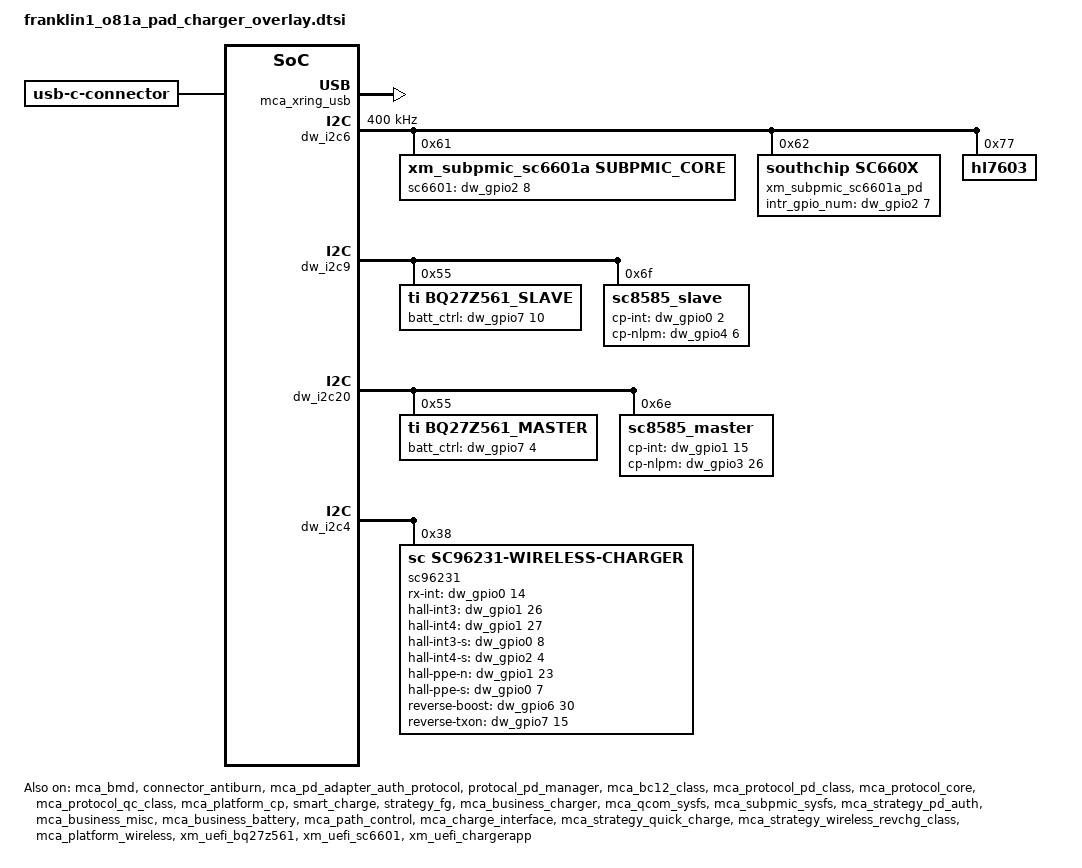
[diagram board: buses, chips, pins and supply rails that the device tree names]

&mca_bmd {
	status = "okay";
	btb_bmd_scheme = <3 3>;
	fg_type = <2>;
	//pinctrl-names = "default";
	//pinctrl-0 = <&slave_batt_det_default>;
	//btb_gpio = <&pmih010x_gpios 2 GPIO_ACTIVE_LOW>;
};

&connector_antiburn {
	status = "okay";
	//names = "default";
	//pinctrl-0 = <&anti_burn_mos_ctrl_default>;
	//mos-ctrl-gpio = <&pm8550_gpios 9 0>;
	//antiburn_otg_detect = <1>;
	//support_soft_antiburn = <1>;
	support_hw_antiburn = <1>;
	//use_double_ntc = <1>;
	monitor_interval = <1000>;
	//thermal-zone-name = "conn_therm";
	thermal-zone-name2 = "conn_therm";
	max_temp_increase_rate = <4>; /*ntc temperature increase speed per second.*/
	otg_boost_src = <2>;   //BOOST_SRC_EXTERNAL
	en_src = <0>;      //OTG_EN_BOOST
	//thermal-board-temp-name = "board_sensor_therm";
};

&mca_pd_adapter_auth_protocol {
		status = "okay";
};

&protocal_pd_manager {
	status = "okay";
	connector {
		compatible = "usb-c-connector";
		power-role = "dual";
		data-role = "dual";
		self-powered;
	};
};

&{/}{
	mca_xring_usb: mca_xring_usb {
		status = "okay";
		compatible = "mca,mca_xring_usb";
		xr-usb = <&usb>;
	};
};

&mca_bc12_class {
	status = "okay";
};

&mca_protocol_pd_class {
	status = "okay";
	max_power = <120>;
};

&mca_protocol_core {
	status = "okay";
};

&mca_protocol_qc_class {
	status = "okay";
};

&mca_platform_cp {
	status = "okay";
	cp-num = <2>;
	cp-dir-list = "cp_master","cp_slave";
};

&smart_charge {
	status = "okay";
	cell_type = <1>;
	support_cc_ichg;
	cc_ichg_cfg = </* cyclecount delta_ichg*/
	800 100
	65536 200>;
	enable_fv_dec_by_cc = <1>;
};

&strategy_fg {
	status = "okay";

	fg_type = <2>;
	report-full-rsoc = <9500>;
	soc-proportion = <95>;
	soc-proportion-c = <94>;
	vcutoff_shutdown_delay = <3250>;
	vcutoff_sw = <3150>;
	fg_hightemp_vterm = <4200>;
	//support-full-curr-monitor;
	support-vpack-low-shutdown;
	support-pnc;

	/*get factory aging test cyclecount and volt*/
	/*batt_cyclecount  vout_threshold*/
	full-volt-monitor = <
		301 9020
		101 9060
		0 9100
	>;
	adapt_power = <120>;
	model-name = "O81A_10610mah_120w";
	support_dtpt = <1>;
	support-base-flip;
	support-lossless-rechg = <0>;
	charge-full-design = <10610>;
	lossless_rechg_cfg = <15 47 300>;
	support_normal_force_full;
	sdp_decrease_iterm = <62 62>;
	iterm_para =
		"0", "iterm_base",
		"1", "iterm_flip";
	/* temp, temp_hys, normal_iterm, ffc_iterm*/
	iterm_base =
		"13", "2", "262", "262",
		"18", "0", "262", "1515",
		"35", "0", "262", "2508",
		"48", "0", "262", "262";

	iterm_flip =
		"13", "2", "262", "262",
		"18", "0", "262", "1515",
		"35", "0", "262", "2508",
		"48", "0", "262", "262";
};

&mca_business_charger {
	status = "okay";
};

&mca_qcom_sysfs {
	status = "okay";
};

&mca_subpmic_sysfs {
	status = "okay";
};

&mca_strategy_pd_auth {
	status = "okay";
};

&mca_business_misc {
	status = "okay";
};

&soc_limit {
	status = "okay";
};

&mca_business_battery {
	status = "okay";
};
&mca_strategy_buckchg_class {
	status = "okay";
	ship_mode_chip = <0>;	/* 0:MAIN_BUCK_CHARGER, 1:AUX_BUCK_CHARGER  */
	ffc_temp_low = <18>;
	ffc_temp_high = <48>;
	pmic_fv_compensation = <25>;
	mca_wire_use_sc_buck = <1>;	/* 0:WIRE UNUSE SC SUBPMIC BUCK, 1:WIRE USE SC SUBPMIC BUCK*/
	vbat_fg_to_pmic_ratio = <1>;
	support-base-flip;
};

&mca_path_control {
	status = "okay";
};

&mca_charge_interface
{
	status = "okay";
};

&mca_strategy_quick_charge {
	status = "okay";

	batt_type = <2>;	/* single fg, two cells in series */
	cp_type = <1>;
	min_vbat = <3000>;
	max_vbat = <4490>;
	recharge_vbat_delta = <250>;
	die_temp_max = <125>;
	adp_temp_max = <125>;
	div_delta_volt = <600 600 800>;
	div_single_curr = <8000 11000 14000>;
	div_max_curr = <8000 8000 21600>;
	multi_ibus_th = <2000 1500 600>;
	ibus_inc_hysteresis = <200 200 100>;
	ibus_dec_hysteresis = <200 200 100>;
	open_path_th = <800 600 400>;
	support_mode = <6>;
	max_power = <120000>;
	qc_normal_charge_fv = <4510>;
	qc3_max_vbus_limit = <9500>;
	qc3_max_ibus_limit = <2500>;
	qc3_ibat_max_limit = <5000>;
	qc3p5_max_vbus_limit = <10000>;
	qc3p5_max_ibus_limit = <2200>;
	qc3p5_ibat_max_limit = <4400>;
	qc_taper_fcc_thr = <2400>;
	qc3_taper_vol_hys = <25>;
	qc3p5_taper_vol_hys = <20>;
	pps_taper_vol_hys = <0>;
	fv_hys_delta_mv = <4>;
	curr_terminate_ratio = <115>;
	pps_taper_fcc_thr = <2100>;
	hardware_cv = <0>;
	rawsoc_swith_pmic_th = <9000>;
	support_cp_vfc = <1>;
	support_curr_monitor = <0>;
	support-base-flip;

	vstep_para =
		"1", "2000", "2",
		"2", "2000", "4",
		"4", "12000", "20",
		"4", "8000", "10",
		"4", "4000", "5",
		"4", "1500", "2",
		"4", "1000", "1";

	batt_para =
		"0", "atl", "batt_para_atl";
		base_flip_para =
		"0", "atl", "base_batt_para_atl",
		"1", "atl", "flip_batt_para_atl";

	/* -------------------- batt_para_atl start -------------------- */
	/* temp_low, temp_high, low_temp_hys, high_temp_hys, max_current, normal_fv, ffc_fv,volt_para_name stage_para_name*/
	batt_para_atl =
		"-65535", "8", "0", "0", "0", "4500", "4500", "null", "null", "null", "null",
		"8", "13", "0", "1", "5226", "4500", "4500", "normal_para_atl_8_13", "null", "null", "null",
		"13", "18", "0", "1", "8360", "4500", "4500", "normal_para_atl_13_18", "null", "null", "null",
		"18", "35", "2", "2", "21600", "4480", "4550", "normal_para_atl_18_35", "ffc_para_atl_18_35", "null", "ffc_stage_atl_18_35",
		"35", "48", "2", "2", "21600", "4480", "4550", "normal_para_atl_35_48", "ffc_para_atl_35_48", "null", "ffc_stage_atl_35_48",
		"48", "65535", "0", "0", "0", "4100", "4100", "null", "null", "null", "null";

	normal_para_atl_8_13 =
		"4495", "5226", "524";

	normal_para_atl_13_18 =
		"4495", "8360", "524";

	normal_para_atl_18_35 =
		"4475", "10450", "524";

	ffc_para_atl_18_35 =
		"4200", "21600", "15676",
		"4300", "15676", "13586",
		"4480", "13586", "10450",
		"4545", "10450", "3030";
	ffc_stage_atl_18_35 = <0 0 0 0 0 0 0 0>;

	normal_para_atl_35_48 =
		"4475", "10450", "524";

	ffc_para_atl_35_48 =
		"4200", "21600", "15676",
		"4300", "15676", "13586",
		"4480", "13586", "10450",
		"4545", "10450", "5016";
	ffc_stage_atl_35_48 = <0 0 0 0 0 0 0 0>;

	/* -------------------- batt_para_atl end -------------------- */

	/* -------------------- base_batt_para_atl start -------------------- */
	/* temp_low, temp_high, low_temp_hys, high_temp_hys, max_current, normal_fv, ffc_fv,volt_para_name stage_para_name*/
	base_batt_para_atl =
		"-65535", "8", "0", "0", "0", "4500", "4500", "null", "null", "null", "null",
		"8", "13", "0", "1", "2613", "4500", "4500", "base_normal_para_atl_8_13", "null", "null", "null",
		"13", "18", "0", "1", "4180", "4500", "4500", "base_normal_para_atl_13_18", "null", "null", "null",
		"18", "35", "2", "2", "10800", "4480", "4550", "base_normal_para_atl_18_35", "base_ffc_para_atl_18_35", "null", "base_ffc_stage_atl_18_35",
		"35", "48", "2", "2", "10800", "4480", "4550", "base_normal_para_atl_35_48", "base_ffc_para_atl_35_48", "null", "base_ffc_stage_atl_35_48",
		"48", "65535", "0", "0", "0", "4100", "4100", "null", "null", "null", "null";

	base_normal_para_atl_8_13 =
		"4495", "2613", "262";

	base_normal_para_atl_13_18 =
		"4495", "4180", "262";

	base_normal_para_atl_18_35 =
		"4475", "5225", "262";

	base_ffc_para_atl_18_35 =
		"4200", "10800", "7838",
		"4300", "7838", "6793",
		"4480", "6793", "5225",
		"4545", "5225", "1515";
	base_ffc_stage_atl_18_35 = <0 0 0 0 0 0 0 0>;

	base_normal_para_atl_35_48 =
		"4475", "5225", "262";

	base_ffc_para_atl_35_48 =
		"4200", "10800", "7838",
		"4300", "7838", "6793",
		"4480", "6793", "5225",
		"4545", "5225", "2508";
	base_ffc_stage_atl_35_48 = <0 0 0 0 0 0 0 0>;

	/* -------------------- base_batt_para_atl end -------------------- */

	/* -------------------- flip_batt_para_atl start -------------------- */
	/* temp_low, temp_high, low_temp_hys, high_temp_hys, max_current, normal_fv, ffc_fv,volt_para_name stage_para_name*/
	flip_batt_para_atl =
		"-65535", "8", "0", "0", "0", "4500", "4500", "null", "null", "null", "null",
		"8", "13", "0", "1", "2613", "4500", "4500", "flip_normal_para_atl_8_13", "null", "null", "null",
		"13", "18", "0", "1", "4180", "4500", "4500", "flip_normal_para_atl_13_18", "null", "null", "null",
		"18", "35", "2", "2", "10800", "4480", "4550", "flip_normal_para_atl_18_35", "flip_ffc_para_atl_18_35", "null", "flip_ffc_stage_atl_18_35",
		"35", "48", "2", "2", "10800", "4480", "4550", "flip_normal_para_atl_35_48", "flip_ffc_para_atl_35_48", "null", "flip_ffc_stage_atl_35_48",
		"48", "65535", "0", "0", "0", "4100", "4100", "null", "null", "null", "null";

	flip_normal_para_atl_8_13 =
		"4495", "2613", "262";

	flip_normal_para_atl_13_18 =
		"4495", "4180", "262";

	flip_normal_para_atl_18_35 =
		"4475", "5225", "262";

	flip_ffc_para_atl_18_35 =
		"4200", "10800", "7838",
		"4300", "7838", "6793",
		"4480", "6793", "5225",
		"4545", "5225", "1515";
	flip_ffc_stage_atl_18_35 = <0 0 0 0 0 0 0 0>;

	flip_normal_para_atl_35_48 =
		"4475", "5225", "262";

	flip_ffc_para_atl_35_48 =
		"4200", "10800", "7838",
		"4300", "7838", "6793",
		"4480", "6793", "5225",
		"4545", "5225", "2508";
	flip_ffc_stage_atl_35_48 = <0 0 0 0 0 0 0 0>;

	/* -------------------- flip_batt_para_atl end -------------------- */
};

&mca_charger_thermal
{
	status = "okay";

	/* 5v_in 9v_in 5v_ichg 9v_ichg div1_single div1_multi div2_single div2_multi div4_single div4_multi*/
	wired_thermal = <
	1800 1500 1800 3000 16000  16000  16000  16000  16000  16000 /* level 1 */
	1800 1500 1800 3000 12000  12000  12000  12000  12000  12000 /* level 2 */
	1800 1500 1800 3000 9000  9000  9000  9000  9000  9000  /* level 3 */
	1800 1500 1800 3000 8000  8000  8000  8000  8000  8000  /* level 4 */
	1800 1500 1800 3000 7000  7000  7000  7000  7000  7000  /* level 5 */
	1800 1400 1800 2800 6000  6000  6000  6000  6000  6000  /* level 6 */
	1800 1300 1800 2600 5000  5000  5000  5000  5000  5000  /* level 7 */
	1800 1150 1800 2310 4000  4000  4000  4000  4000  4000  /* level 8 */
	1700 1100 1700 2200 3500  3500  3500  3500  3500  3500  /* level 9 */
	1600 1000 1600 2000 3000  3000  3000  3000  3000  3000  /* level 10 */
	1400 900  1400 1800 2400  2400  2400  2400  2400  2400  /* level 11 */
	1200 850  1200 1600 2000  2000  2000  2000  2000  2000  /* level 12 */
	1100 750  1100 1500 1500  1500  1500  1500  1500  1500   /* level 13 */
	1100 650  1100 1300 1000  1000  1000  1000  1000  1000   /* level 14 */
	1000 500  1000 1000 500   500   500   500   500   500   /* level 15 */
	>;
};

&mca_buckchg_jeita
{
	status = "okay";
	sdp_decrease_vi_term = <10 124>;
	high_tbat_stop_chg_fv = <4100>;
	support-base-flip;
	/* temp_low, temp_high, low_temp_hys, high_temp_hys, max_current, vterm, iterm, volt_para_name */
	jeita_para =
		"-65535", "-9", "0", "2", "0", "4500", "524", "null",
		"-9", "3", "1", "2", "1046", "4500", "524", "para_n10_3",
		"3", "8", "1", "2", "2090", "4500", "524", "para_3_8",
		"8", "13", "1", "2", "5226", "4500", "524", "para_8_13",
		"13", "18", "1", "2", "8360", "4500", "524", "null",
		"18", "35", "2", "2", "10450", "4480", "524", "null",
		"35", "48", "2", "0", "10450", "4480", "524", "null",
		"48", "55", "2", "2", "5226", "4060", "524", "null",
		"55", "65535", "2", "2", "0", "4060", "524", "null";

	para_n10_3 =
		"4500", "1046";

	para_3_8 =
		"4500", "2090";

	para_8_13 =
		"4500", "5226";

	jeita_para_ffc =
		"18", "35", "2", "2", "21600", "4550", "3030", "null",
		"35", "48", "2", "0", "21600", "4550", "5016", "null",
		"48", "55", "2", "2", "5226", "4060", "524", "null",
		"55", "65535", "2", "2", "0", "4060", "524", "null";

	base_jeita_para =
		"-65535", "-9", "0", "2", "0", "4500", "262", "null",
		"-9", "3", "1", "2", "523", "4500", "262", "base_para_n10_3",
		"3", "8", "1", "2", "1045", "4500", "262", "base_para_3_8",
		"8", "13", "1", "2", "2613", "4500", "262", "base_para_8_13",
		"13", "18", "1", "2", "4180", "4500", "262", "null",
		"18", "35", "2", "2", "5225", "4480", "262", "null",
		"35", "48", "2", "0", "5225", "4480", "262", "null",
		"48", "55", "2", "2", "2613", "4060", "262", "null",
		"55", "65535", "2", "2", "0", "4060", "262", "null";

	base_para_n10_3 =
		"4500", "523";

	base_para_3_8 =
		"4500", "1045";

	base_para_8_13 =
		"4500", "2613";

	base_jeita_para_ffc =
		"18", "35", "2", "2", "10800", "4550", "1515", "null",
		"35", "48", "2", "0", "10800", "4550", "2508", "null",
		"48", "55", "2", "2", "2613", "4060", "262", "null",
		"55", "65535", "2", "2", "0", "4060", "262", "null";

	flip_jeita_para =
		"-65535", "-9", "0", "2", "0", "4500", "262", "null",
		"-9", "3", "1", "2", "523", "4500", "262", "flip_para_n10_3",
		"3", "8", "1", "2", "1045", "4500", "262", "flip_para_3_8",
		"8", "13", "1", "2", "2613", "4500", "262", "flip_para_8_13",
		"13", "18", "1", "2", "4180", "4500", "262", "null",
		"18", "35", "2", "2", "5225", "4480", "262", "null",
		"35", "48", "2", "0", "5225", "4480", "262", "null",
		"48", "55", "2", "2", "2613", "4060", "262", "null",
		"55", "65535", "2", "2", "0", "4060", "262", "null";

	flip_para_n10_3 =
		"4500", "523";

	flip_para_3_8 =
		"4500", "1045";

	flip_para_8_13 =
		"4500", "2613";

	flip_jeita_para_ffc =
		"18", "35", "2", "2", "10800", "4550", "1515", "null",
		"35", "48", "2", "0", "10800", "4550", "2508", "null",
		"48", "55", "2", "2", "2613", "4060", "262", "null",
		"55", "65535", "2", "2", "0", "4060", "262", "null";
};

&dw_i2c6 {
	status = "okay";
	#address-cells = <1>;
	#size-cells = <0>;
	clock-frequency = <400000>;
	xm_subpmic_sc6601a {
		#io-channel-cells = <1>;
		compatible = "xm_subpmic_sc6601a,subpmic_core";
		reg = <0x61>;
		//interrupt-parent = <&dw_gpio2>;
		sc6601-gpio = <&dw_gpio2 8 0>;

		//interrupts = <GIC_SPI 72 IRQ_TYPE_LEVEL_LOW>;
		interrupt-controller;
		#interrupt-cells = <1>;
		pinctrl-names = "default";
		pinctrl-0 = <&gpio_072_default>; //72

		xm_subpmic_sc6601a_drv {
			#io-channel-cells = <1>;
			compatible = "xm_subpmic_sc6601a,subpmic_drv";
			vbusp-gpio = <&dw_gpio6 29 0>; //gpio 212
			otg_boost_src = <1>;	// 0 : charger boost	1 : gpio
			otg_boost_en = <&dw_gpio6 27 0>;
			otg_en = <&dw_gpio7 14 0>;
			pinctrl-names = "default";
			pinctrl-0 = <&otg_boost_en_default>,
						<&otg_en_default>;
			interrupts = <6>,
						 <0>,
						 <3>;
			interrupt-names = "Hourse Keeping",
							  "Buck Charger",
							  "DPDM";
							  //"LED";
			//dpdm-supply = <&usb2_phy0>;
			sc,vsys-limit = <3500>;
			sc,batsnc-enable = <1>;
			sc,vbat = <4528>;
			sc,charge-curr = <4000>;
			sc,iindpm-disable = <0>;
			sc,input-curr-limit = <3000>;
			sc,ico-enable = <0>;
			sc,iindpm-ico = <100>;
			sc,vindpm = <4500>;
			sc,precharge-volt = <1>;	/* 0:2900mv, 1:3000, 2:3100, 3:3200 */
			sc,precharge-curr = <250>;
			sc,term-en = <1>;
			sc,term-curr = <1100>;	/* ma */
			sc,rechg-dis = <1>;
			sc,rechg-dg = <0>;		/* 0:64ms , 1:256ms , 2:1024ms , 3:2048ms */
			sc,rechg-volt = <0>;		/* 0:100mv , 1:200mv , 2:300mv , 3:400mv */
			sc,boost-voltage = <5000>;
			sc,boost-max-current = <1500>;
			sc,conv-ocp-dis = <0>;
			sc,tsbat-jeita-dis = <1>;
			sc,ibat-ocp-dis = <0>;
			sc,vpmid-ovp-otg-dis = <0>;
			sc,vbat-ovp-buck-dis = <0>;
			sc,ibat-ocp = <1>;    /* 0:12A  default value, 1:range 16A-17A */
			sc,chg-timer = <3>;		/* 0:5h 1:8h	2:12h	3:24h */
			xr-usb = <&usb>;
			usb-repeater = <&repeater_PTN3222>;
			sc,sc660x-pd-auth-en = <0>;
			pogo_support = <1>;
		};

		xm_subpmic_sc6601a_cid {
			compatible = "xm_subpmic_sc6601a,subpmic_cid";
			status = "okay";
			interrupts = <7>;
			interrupt-names = "CID";
			cid-force-source = <0>; /* 0:phone-snk 1:pad-source*/
		};
	};

	xm_subpmic_sc6601a_pd {
		#io-channel-cells = <1>;
		compatible = "southchip,sc660x";
		reg = <0x62>;

		sc-tcpc,name = "type_c_port0"; /* tcpc_device's name */
		sc-tcpc,role_def = <1>; /* 0: Unknown, 1: SNK Only, 2: SRC Only*/
					/* 3: DRP, 4: Try.SRC, 5: Try.SNK */
		sc-tcpc,rp_level = <1>; /* 0: Default, 1: 1.5, 2: 3.0 */
		sc-tcpc,vconn_supply = <1>;  /* 0: Never, 1: Always, */
						  /* 2: EMarkOnly, 3: StartOnly */
		sc660x,intr_gpio_num = <&dw_gpio2 7 0>; //gpio 71
		pinctrl-names = "default";
		pinctrl-0 = <&gpio_071_default>;
		pd-data {
			pd,vid = <0x311c>;
			pd,pid = <0x6600>;
			pd,source-cap-ext = /bits/ 8 <0x1c 0x31 0x00 0x66
			      0x00 0x00 0x00 0x00
			      0x00 0x00 0x00 0x00
			      0x00 0x00 0x00 0x00
			      0x00 0x00 0x00 0x00
			      0x00 0x00 0x01 0x02
			      0x00>;
			pd,sink-cap-ext = /bits/ 8 <0x1c 0x31 0x00 0x66
				   0x00 0x00 0x00 0x00
				   0x01 0x00 0x00 0x00
				   0x00 0x00 0x00 0x00
				   0x01 0x00 0x00 0x00
				   0x00 0x00 0x00 0x00>;
			pd,mfrs = "SouthChip";

			/*
			 *	VSAFE5V = 0, MAX_POWER = 1, CUSTOM = 2,
			 *	MAX_POWER_LV = 0x21, MAX_POWER_LVIC = 0x31
			 *	MAX_POWER_HV = 0x41, MAX_POWER_HVIC = 0x51
			 */
			pd,charging_policy= <0x31>;

			/*
			 * Fixed 5V, 500 mA <0x00019032>
			 * Fixed 5V, 1A <0x00019064>
			 * Fixed 5V,1.5A <0x00019096>
			 * Fixed 5V, 2A <0x000190c8>
			 * Fixed 5V, 3A <0x0001912c>
			 * Fixed 9V, 500 mA <0x0002d032>
			 * Fixed 9V, 1A <0x0002d064>
			 * Fixed 9V, 2A <0x0002d0c8>
			 * Fixed 9V, 3A <0x0002d12c>
			 * Variable 5-9V, 1A <0x8642d064>
			 * Variable 5-9V, 2A <0x8642d0c8>
			 * Variable 5-9V, 3A <0x8642d12c>
			 * PPS 3V~5.9V, 3A <0xC0761E3C>
			 */
			pd,source-pdo-size = <1>;
			/* Fixed 5V,1A */
			pd,source-pdo-data = <0x00019064>;
			pd,sink-pdo-size = <1>;
			pd,sink-pdo-data = <0x000190c8>;

			/*0110 1110 0011 0010
			 * No DP, host + device
			 *	pd,id-vdo-size = <6>;
			 *	pd,id-vdo-data = <0xd14029cf 0x0 0x17110000
						  0x61000000 0x0 0x41000000>;
			 * With DP
			 *	pd,id-vdo-size = <6>;
			 *	pd,id-vdo-data = <0xd54029cf 0x0 0x17110000
						  0x61000000 0x0 0x41000000>;
			 */


			pd,id-vdo-size = <6>;
			pd,id-vdo-data = <0xd54029cf 0x0 0x17110000
						  0x61000000 0x0 0x41000000>;

			bat,nr = <1>;
			pd,country_nr = <0>;

			bat-info0 {
				bat,vid = <0x311c>;
				bat,pid = <0x6600>;
				bat,mfrs = "bat1";
				bat,design_cap = <3000>;
			};
		};
		dpm_caps {
			local_dr_power;
			local_dr_data;
			//local_ext_power;
			local_usb_comm;
			//local_usb_suspend;
			local_high_cap;
			//local_give_back;
			local_no_suspend;
			local_vconn_supply;

			attempt_discover_cable_dfp;
			attempt_enter_dp_mode;
			attempt_discover_cable;
			attempt_discover_id;
			attempt_discover_svid;

			/* 0: disable, 1: prefer_snk, 2: prefer_src */
			pr_check = <0>;
			//pr_reject_as_source;
			//pr_reject_as_sink;
			//pr_check_gp_source;
			//pr_check_gp_sink;

			/* 0: disable, 1: prefer_ufp, 2: prefer_dfp */
			dr_check = <0>;
			//dr_reject_as_dfp;
			//dr_reject_as_ufp;
		};
		displayport {
			/* connection type = "both", "ufp_d", "dfp_d" */
			1st_connection = "dfp_d";
			2nd_connection = "dfp_d";
			signal,dp_v13;
			//signal,dp_gen2;
			//usbr20_not_used;
			typec,receptacle;
			ufp_d {
				//pin_assignment,mode_a;
				//pin_assignment,mode_b;
				//pin_assignment,mode_c;
				//pin_assignment,mode_d;
				//pin_assignment,mode_e;
			};
			dfp_d {
				//pin_assignment,mode_a;
				//pin_assignment,mode_b;
				pin_assignment,mode_c;
				pin_assignment,mode_d;
				pin_assignment,mode_e;
				//pin_assignment,mode_f;
			};
		};
	};

	hl7603@77 {
		compatible = "hl7603";
		status = "okay";
		reg = <0x77>;
		vout_threshold = <3400>;
	};
};

&dw_i2c9 {
	status = "okay";
	#address-cells = <1>;
	#size-cells = <0>;
	bq27z561_slave@55 {
		compatible = "ti,bq27z561_slave";
		ic_role = <1>;
		reg = <0x55>;
		status = "okay";
		batt_ctrl = <&dw_gpio7 10 0>;//gpio 225
		pinctrl-names = "default";
		pinctrl-0 = <&gpio_225_default>;
	};
	sc8585_slave@6f {
		compatible = "sc8585_slave";
		status = "okay";
		ic_role = <1>;
		reg = <0x6f>;
		cp-int= <&dw_gpio0 2 0>; //gpio2
		cp-nlpm-gpio = <&dw_gpio4 6 0>;//gpio 119
		pinctrl-names = "default";
		pinctrl-0 = <&gpio_002_default>,
					<&gpio_119_default>; //gpio119
		bat-ovp-threshold = <4700>;
		bat-ovp-alarm-threshold = <4650>;
		bus-ovp-threshold = <21000 12000 6000>;
		usb-ovp-threshold = <21000 14000 7500>;
		bus-ocp-threshold = <5000 5500 5000>;
		wpc-ovp-threshold = <21000>;
		out-ovp-threshold = <5000>;
		pmid2-uvp-threshold = <100>;
		pmid2-ovp-threshold = <600>;
		pogo_support = <0>;
	};
};

&dw_i2c20 {
	status = "okay";
	#address-cells = <1>;
	#size-cells = <0>;
	bq27z561_master@55 {
		compatible = "ti,bq27z561_master";
		ic_role = <0>;
		reg = <0x55>;
		status = "okay";
		batt_ctrl = <&dw_gpio7 4 0>;//gpio 219
		pinctrl-names = "default";
		pinctrl-0 = <&gpio_219_default>;
	};
	sc8585_master@6e {
		compatible = "sc8585_master";
		status = "okay";
		ic_role = <0>;
		reg = <0x6e>;
		cp-int= <&dw_gpio1 15 0>; //gpio47
		cp-nlpm-gpio = <&dw_gpio3 26 0>;//gpio 107
		pinctrl-names = "default";
		pinctrl-0 = <&gpio_047_default>,
					<&gpio_107_default>; //gpio107
		bat-ovp-threshold = <4700>;
		bat-ovp-alarm-threshold = <4650>;
		bus-ovp-threshold = <21000 12000 6000>;
		usb-ovp-threshold = <21000 14000 7500>;
		bus-ocp-threshold = <5000 5500 5000>;
		wpc-ovp-threshold = <21000>;
		out-ovp-threshold = <5000>;
		pmid2-uvp-threshold = <100>;
		pmid2-ovp-threshold = <600>;
		pogo_support = <1>;
	};
};

&dw_i2c4 {
	status = "okay";
	#address-cells = <1>;
	#size-cells = <0>;
	sc96231@38 {
		status = "okay";
		compatible = "sc,sc96231-wireless-charger";
		reg = <0x38>;
		project_vendor = <6>;
		rx_role = <0>;
		fw_version_index = <0>;
		pinctrl-names = "default";
		pinctrl-0 = <&gpio_007_default>,
				<&gpio_008_default>,
				<&gpio_014_default>,
				<&gpio_055_default>,
				<&gpio_058_default>,
				<&gpio_059_default>,
				<&gpio_068_default>;
		rx-int = <&dw_gpio0 14 0>; //gpio14
		hall-int3 = <&dw_gpio1 26 0>; //gpio58
		hall-int4 = <&dw_gpio1 27 0>; //gpio59
		hall-int3-s = <&dw_gpio0 8 0>; //gpio8
		hall-int4-s = <&dw_gpio2 4 0>; //gpio68
		hall-ppe-n = <&dw_gpio1 23 0>; //gpio55
		hall-ppe-s = <&dw_gpio0 7 0>; //gpio7
		reverse-boost-gpio = <&dw_gpio6 30 0>; //gpio213
		reverse-txon-gpio = <&dw_gpio7 15 0>; //gpio230
	};
};

&mca_strategy_wireless_revchg_class{
	status = "okay";
	rev_boost_src = <2>;
	support-tx-only = <1>;
};

&mca_platform_wireless {
	status = "okay";
	wireless-num = <1>;
	wireless-dir-list = "wireless_master";
};

&xm_uefi_bq27z561 {
	status = "okay";
	i2c-bus-id = <20>;
	i2c-addr = <0x55>;
	i2c-retry-max-cnt = <3>;

	i2c-err-default-vbat = <(-1)>;	/* will directly try booting when vbat <= 500mA */
};

&xm_uefi_sc6601 {
	status = "okay";
	i2c-bus-id = <6>;
	i2c-addr = <0x61>;
	i2c-retry-max-cnt = <3>;

	/* hw init */
	spmic,vbat = <4528>;
	spmic,charge-curr = <500>;
	spmic,iindpm-disable = <0>;
	spmic,input-curr-limit = <500>;
	spmic,ico-enable = <0>;
	spmic,iindpm-ico = <100>;
	spmic,precharge-volt = <1>;	/* 0:2900mv, 1:3000, 2:3100, 3:3200 */
	spmic,precharge-curr = <250>;
	spmic,vac_ovp = <6000>;
	spmic,vbus_ovp = <6000>;

	support-wireless-chg = <0>;

	cp,i2c-bus-id = <20>;
	cp,i2c-addr = <0x6e>;
	cp,ovpgate-ovp-reg = <0x03>;
	cp,ovpgate-ovp-val = <0x83>; /* set vusb_ovp to 14V */

	i2c-err-default-vbat = <(-1)>;	/* will directly try booting when vbat <= 500mA */
};

&xm_uefi_chargerapp {
	status = "okay";
	disable-charger = <0>; /* 0: enable uefi charger app 1: disable */
	boot-kernel-volt-th = <3400>;
	fastcharge-volt-th = <3000>;
	precharge-volt-th = <2500>;
	tbat-low-temp-th = <(-100)>;	/* 0.1C */
	tbat-high-temp-th = <600>;	/* 0.1C */
	tbat-critical-temp-th = <570>;	/* 0.1C */
	tbat-critical-resume-th = <550>;
	batt-low-uefi-shutdown-th = <3000>;
	fg-pmic-vbat-ratio = <1>;	/* vbatfg/vbatpmic = 2*/
	high-soc-boot-volt-th = <3200>;

	precharge-curr-mA = <470>;

	sdp-aicl = <500>;
	sdp-ichg = <500>;
	cdp-aicl = <1500>;
	cdp-ichg = <1500>;
	dcp-aicl = <1500>;
	dcp-ichg = <1500>;
	hvdcp-aicl = <1700>;
	hvdcp-ichg = <3000>;	/* ibat of pmic, not fg */

	support-zero-boot = <0>; /* 0: not supplort zero speed boot 1: support */
	sw-chgtype-volt-cfg = <3150 3400>, /* sdp */
		<3150 3400>, /* cdp */
		<3150 3400>, /* dcp */
		<3100 3050>, /* hvdcp */
		<3150 3400>; /* float */
	sw-jeita-cfg = <(-10) 0 882 3600>,
		<0 5 1176 3400>,
		<5 10 1764 3400>,
		<10 48 3000 3050>,
		<48 60 3000 3200>;
	sw-cycle-count-cfg = <0 100 3050>,
		<100 300 3100>,
		<300 800 3150>,
		<800 65535 3400>;
};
